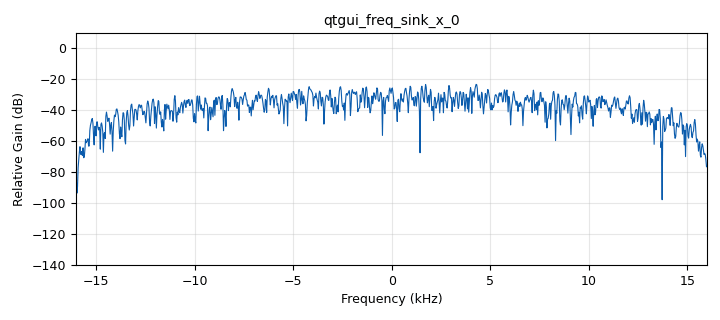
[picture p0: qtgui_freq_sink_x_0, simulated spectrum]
options:
  parameters:
    generate_options: qt_gui
    id: top_block
    output_language: python
    title: Not titled yet
  states: {}

blocks:
- name: samp_rate
  id: variable
  parameters:
    value: '32000'
  states: {}
- name: tap0
  id: variable_qtgui_range
  parameters:
    start: '-1'
    step: '1'
    stop: '1'
    value: '1'
    widget: slider
  states: {}
- name: tap1
  id: variable_qtgui_range
  parameters:
    start: '-1'
    step: '1'
    stop: '1'
    value: '1'
    widget: slider
  states: {}
- name: tap2
  id: variable_qtgui_range
  parameters:
    start: '-1'
    step: '1'
    stop: '1'
    value: '1'
    widget: slider
  states: {}
- name: analog_noise_source_x_0
  id: analog_noise_source_x
  parameters:
    amp: '1'
    noise_type: analog.GR_GAUSSIAN
    seed: '0'
    type: complex
  states: {}
- name: blocks_add_xx_0
  id: blocks_add_xx
  parameters:
    type: complex
  states: {}
- name: blocks_delay_0
  id: blocks_delay
  parameters:
    delay: '2'
    type: complex
  states: {}
- name: blocks_delay_1
  id: blocks_delay
  parameters:
    delay: '1'
    type: complex
  states: {}
- name: blocks_multiply_const_vxx_1
  id: blocks_multiply_const_vxx
  parameters:
    const: '1'
    type: complex
  states: {}
- name: blocks_multiply_const_vxx_2
  id: blocks_multiply_const_vxx
  parameters:
    const: '1'
    type: complex
  states: {}
- name: blocks_throttle2_0
  id: blocks_throttle2
  parameters:
    samples_per_second: '1000000'
    type: complex
  states: {}
- name: qtgui_freq_sink_x_0
  id: qtgui_freq_sink_x
  parameters:
    bw: samp_rate
    fc: '0'
    fftsize: '1024'
    type: complex
  states: {}

connections:
- [analog_noise_source_x_0, '0', blocks_throttle2_0, '0']
- [blocks_add_xx_0, '0', qtgui_freq_sink_x_0, '0']
- [blocks_delay_0, '0', blocks_multiply_const_vxx_2, '0']
- [blocks_delay_1, '0', blocks_multiply_const_vxx_1, '0']
- [blocks_multiply_const_vxx_1, '0', blocks_add_xx_0, '0']
- [blocks_multiply_const_vxx_2, '0', blocks_add_xx_0, '1']
- [blocks_throttle2_0, '0', blocks_delay_0, '0']
- [blocks_throttle2_0, '0', blocks_delay_1, '0']

metadata:
  file_format: 1
  grc_version: 3.10.7.0
